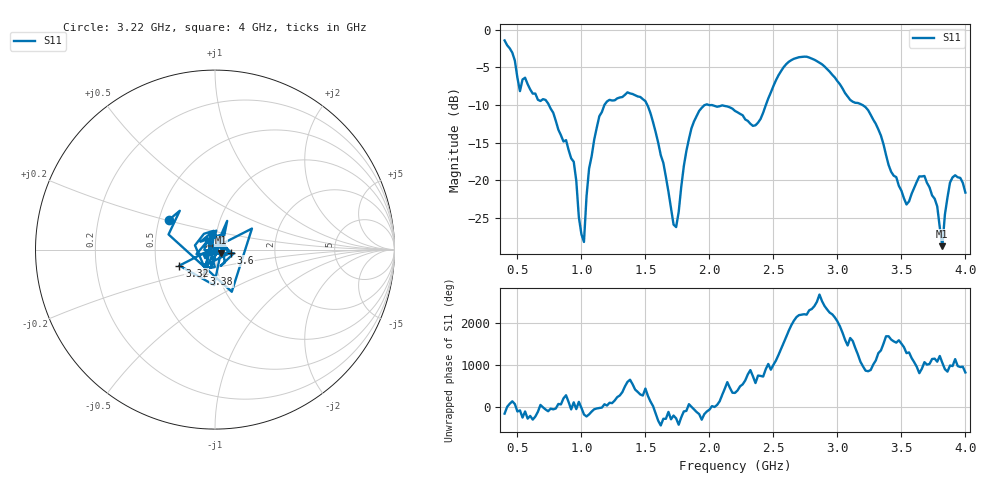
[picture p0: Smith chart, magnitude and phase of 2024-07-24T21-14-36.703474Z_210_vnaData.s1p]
!Created with skrf (http://scikit-rf.org).
# Hz S RI R 50.0
!freq ReS11 ImS11
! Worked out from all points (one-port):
!   181 points, 400 MHz to 4 GHz, reference 50 ohm
!   lowest |S11| = -28.7 dB at 3.82 GHz (marker M1), VSWR 1.08, Z = 53.3 - j1.86 ohm
!   |S11| at or under -10 dB: 1.515 GHz to 1.966 GHz (451.1 MHz wide, 25.9 % of centre); 1.995 GHz to 2.441 GHz (446 MHz wide, 20.1 % of centre); 3.195 GHz to end of sweep (the widest 3 of 4)
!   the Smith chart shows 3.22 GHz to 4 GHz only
!   S11 on the Smith chart (normalised r, x): 3.22 GHz: 0.56, +0.21; 3.32 GHz: 0.66, -0.12; 3.38 GHz: 0.86, -0.24; 3.6 GHz: 1.19, -0.04; 4 GHz: 0.95, +0.15
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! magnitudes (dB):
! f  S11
! 400 MHz  -1.4
! 520 MHz  -8.2
! 720 MHz  -9.3
! 860 MHz  -14.8
! 940 MHz  -17.5
! 1.02 GHz  -28.2
! 1.06 GHz  -18.4
! 1.14 GHz  -11.5
! 1.3 GHz  -9.0
! 1.5 GHz  -9.5
! 1.72 GHz  -25.9
! 1.76 GHz  -24.2
! 1.82 GHz  -16.1
! 1.92 GHz  -10.8
! 2.2 GHz  -10.8
! 2.36 GHz  -12.7
! 2.66 GHz  -3.9
! 3.1 GHz  -9.3
! 3.22 GHz  -10.3
! 3.32 GHz  -13.2
! 3.38 GHz  -16.6
! 3.56 GHz  -22.8
! 3.6 GHz  -21.0
! 3.68 GHz  -19.4
! 3.78 GHz  -23.5
! 3.82 GHz  -28.7
! 3.88 GHz  -20.3
! 4 GHz  -21.6
